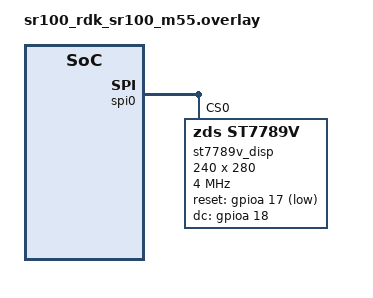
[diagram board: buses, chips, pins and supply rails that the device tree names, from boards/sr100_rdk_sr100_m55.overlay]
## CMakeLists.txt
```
cmake_minimum_required(VERSION 3.20.0)

# Custom "zds,st7789v" devicetree binding (same as Lab 11/12/13/14) --
# DTS_ROOT must be extended BEFORE find_package(Zephyr...) runs, or the
# devicetree compiler won't find it.
list(APPEND DTS_ROOT ${CMAKE_CURRENT_SOURCE_DIR})

find_package(Zephyr REQUIRED HINTS $ENV{ZEPHYR_BASE})
project(lab15_low_power_sync_host)

target_sources(app PRIVATE src/main.c)
target_include_directories(app PRIVATE include)
```

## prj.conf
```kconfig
CONFIG_MBOX=y
CONFIG_SPI=y
CONFIG_GPIO=y
# No CONFIG_DISPLAY / CONFIG_CHARACTER_FRAMEBUFFER / CONFIG_ST7789V -- same
# raw-SPI approach as Lab 11/12/13/14 (see Lab 11's prj.conf comment).
CONFIG_MAIN_STACK_SIZE=4096
# ns16550_uart1 (M55's only UART/console) is disabled in the devicetree
# overlay because SPI0 reuses its pins -- see Lab 11's prj.conf comment
# for why CONFIG_UART_CONSOLE=n/CONFIG_CONSOLE=n (and NOT CONFIG_SERIAL=n)
# is the correct fix. M55 never sends console commands in this lab -- all
# commands are M4-local (see remote/src/main.c).
CONFIG_UART_CONSOLE=n
CONFIG_CONSOLE=n
CONFIG_LOG=y
CONFIG_LOG_DEFAULT_LEVEL=3
CONFIG_PRINTK=y

# NOTE on power management: this lab deliberately does NOT set CONFIG_PM.
# See src/main.c's file header comment -- Sync_Task blocks on K_FOREVER
# with nothing else runnable, which already puts the CPU into Zephyr's
# default WFI-based idle wait with zero extra configuration. Explicit
# deeper SoC power states were not confirmed available/working on this
# board for M55 in this curriculum, so CONFIG_PM is left off rather than
# guessed at.
```

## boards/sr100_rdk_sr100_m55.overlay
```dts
#include <zephyr/dt-bindings/gpio/gpio.h>

/* Lab 15 reuses this TFT wiring UNCHANGED from Lab 11/12/13/14 -- no new
 * hardware. M55's only job in this lab is drawing the threshold-event
 * state on the same ST7789V3 panel on SPI0. */

/* ipc0 shared-memory-size must match the M4 overlay in remote/boards/ exactly. */
&ipc0 {
	shared-memory-size = <0x400>;
};

/*
 * This lab's sensor (AHT20) lives on M4's &i2c0, not the shared &i2c1
 * bus -- &i2c1 is disabled anyway for consistency with the rest of the
 * curriculum (M55 never uses i2c1 in any lab) and because it's harmless.
 */
&i2c1 {
	status = "disabled";
};

&gpio_exp0 {
	status = "disabled";
};

&ov02c10 {
	status = "disabled";
};

/*
 * ST7789V3 1.69" 240x280 color TFT on M55's SPI0 -- identical setup to
 * Lab 11/12/13/14 (same panel, same wiring, same raw-SPI "zds,st7789v"
 * custom binding). See Lab 11's doc for the full rationale (why raw SPI
 * instead of Zephyr's in-tree display driver, the level-shifter
 * requirement, the SPI0 FIFO chunking, and the SPI0/UART1 console pin
 * conflict this creates).
 */
&ns16550_uart1 {
	status = "disabled";
};

&spi0 {
	#address-cells = <1>;
	#size-cells = <0>;
	status = "okay";
	pinctrl-0 = <&spi_mstr_mosi &spi_mstr_miso &spi_mstr_clk &spi_mstr_cs>;
	pinctrl-names = "default";

	st7789v_disp: st7789v@0 {
		compatible = "zds,st7789v";
		reg = <0>;
		spi-max-frequency = <4000000>;
		reset-gpios = <&gpioa 17 GPIO_ACTIVE_LOW>;  /* SoC GPIO17, J24 pin 3 - through level shifter */
		dc-gpios = <&gpioa 18 GPIO_ACTIVE_HIGH>;    /* SoC GPIO18, J24 pin 4 - through level shifter */
		width = <240>;
		height = <280>;
		x-offset = <0>;
		y-offset = <20>;
	};
};
```

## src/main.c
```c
/*
 * Lab 15: Low Power Sync (HOST, M55)
 *
 * Same ST7789V3 TFT hardware setup as Lab 11/12/13/14 (identical panel,
 * SPI0/RESET/DC wiring, raw-SPI driver -- see this lab's
 * doc/15_low_power_sync_kr.md for the full pin table and level-shifter
 * rationale). This lab does not touch I2C0/AHT20 at all -- M55 never
 * reads the sensor directly, it only reacts to M4's threshold events.
 *
 * WHAT M55 DOES, AND WHY IT'S DIFFERENT FROM LAB 14: `Sync_Task` blocks on
 * k_msgq_get() with NO timeout at all (K_FOREVER), not the finite
 * K_MSEC(...) timeout Lab 14's Watchdog_Task used. That's not an
 * oversight -- it's the point of this lab. Lab 14 needed a finite timeout
 * because it had to detect the ABSENCE of a message (silence = trouble).
 * This lab only cares about the PRESENCE of a message (a real state
 * change) -- there is nothing to detect by watching the clock, so there is
 * no reason to wake up on a timer at all. A thread blocked on K_FOREVER
 * with nothing else runnable is exactly when Zephyr's own idle thread
 * puts the CPU into its lowest-power wait state (WFI) automatically, with
 * no extra code required here -- this is the "M55 stays idle until
 * something worth reacting to happens" pattern this lab demonstrates.
 *
 * NOT IMPLEMENTED (deliberately, see doc): explicitly requesting a deeper
 * SoC power state (e.g. PM_STATE_SUSPEND_TO_IDLE) via Zephyr's power
 * management subsystem. Which PM states this SoC/board actually supports
 * from M55, and what it takes to enable CONFIG_PM here, was not confirmed
 * on real hardware for this curriculum -- rather than guess at unverified
 * Kconfig, this lab relies on Zephyr's automatic WFI-on-idle behavior,
 * which requires no PM configuration and is fully verifiable: M55 simply
 * has nothing to do while waiting, so it waits efficiently by default.
 */

#include <zephyr/kernel.h>
#include <zephyr/device.h>
#include <zephyr/devicetree.h>
#include <zephyr/drivers/spi.h>
#include <zephyr/drivers/gpio.h>
#include <zephyr/drivers/mbox.h>
#include <zephyr/logging/log.h>
#include <zephyr/sys/util.h>
#include <stdbool.h>
#include <stdio.h>
#include <string.h>
#include "ipc_common.h"

LOG_MODULE_REGISTER(lab15_host, CONFIG_LOG_DEFAULT_LEVEL);

#define TASK_STACK_SIZE 2048
#define TASK_PRIORITY   4

K_THREAD_STACK_DEFINE(task_stack, TASK_STACK_SIZE);
static struct k_thread task_data;

K_MSGQ_DEFINE(evt_msgq, sizeof(struct ipc15_event_payload), 4, 4);

#define DISP_NODE DT_NODELABEL(st7789v_disp)

#define PANEL_WIDTH   DT_PROP(DISP_NODE, width)
#define PANEL_HEIGHT  DT_PROP(DISP_NODE, height)
#define X_OFFSET      DT_PROP(DISP_NODE, x_offset)
#define Y_OFFSET      DT_PROP(DISP_NODE, y_offset)

#define ST7789_SWRESET   0x01
#define ST7789_SLPOUT    0x11
#define ST7789_COLMOD    0x3A
#define ST7789_MADCTL    0x36
#define ST7789_INVON     0x21
#define ST7789_NORON     0x13
#define ST7789_DISPON    0x29
#define ST7789_CASET     0x2A
#define ST7789_RASET     0x2B
#define ST7789_RAMWR     0x2C
#define ST7789_PORCTRL   0xB2
#define ST7789_GCTRL     0xB7
#define ST7789_VCOMS     0xBB
#define ST7789_LCMCTRL   0xC0
#define ST7789_VDVVRHEN  0xC2
#define ST7789_VRHS      0xC3
#define ST7789_VDVS      0xC4
#define ST7789_FRCTRL2   0xC6
#define ST7789_PWCTRL1   0xD0
#define ST7789_PVGAMCTRL 0xE0
#define ST7789_NVGAMCTRL 0xE1

#define COLOR_BLACK   0x0000
#define COLOR_WHITE   0xFFFF
#define COLOR_RED     0xF800
#define COLOR_GREEN   0x07E0
#define COLOR_YELLOW  0xFFE0
#define COLOR_GRAY    0x8410

static const struct spi_dt_spec spi_spec =
	SPI_DT_SPEC_GET(DISP_NODE, SPI_WORD_SET(8) | SPI_TRANSFER_MSB, 0);
static const struct gpio_dt_spec reset_spec = GPIO_DT_SPEC_GET(DISP_NODE, reset_gpios);
static const struct gpio_dt_spec dc_spec = GPIO_DT_SPEC_GET(DISP_NODE, dc_gpios);

struct glyph {
	char ch;
	uint8_t cols[5];
};

/* Same 5x7 font table as Lab 11/12/13/14 -- unchanged. */
static const struct glyph font5x7[] = {
	{' ', {0x00, 0x00, 0x00, 0x00, 0x00}},
	{'-', {0x08, 0x08, 0x08, 0x08, 0x08}},
	{'.', {0x00, 0x60, 0x60, 0x00, 0x00}},
	{':', {0x00, 0x36, 0x36, 0x00, 0x00}},
	{'0', {0x3E, 0x51, 0x49, 0x45, 0x3E}},
	{'1', {0x00, 0x42, 0x7F, 0x40, 0x00}},
	{'2', {0x62, 0x51, 0x49, 0x49, 0x46}},
	{'3', {0x22, 0x41, 0x49, 0x49, 0x36}},
	{'4', {0x18, 0x14, 0x12, 0x7F, 0x10}},
	{'5', {0x27, 0x45, 0x45, 0x45, 0x39}},
	{'6', {0x3C, 0x4A, 0x49, 0x49, 0x30}},
	{'7', {0x01, 0x71, 0x09, 0x05, 0x03}},
	{'8', {0x36, 0x49, 0x49, 0x49, 0x36}},
	{'9', {0x06, 0x49, 0x49, 0x29, 0x1E}},
	{'A', {0x7E, 0x11, 0x11, 0x11, 0x7E}},
	{'B', {0x7F, 0x49, 0x49, 0x49, 0x36}},
	{'C', {0x3E, 0x41, 0x41, 0x41, 0x22}},
	{'D', {0x7F, 0x41, 0x41, 0x22, 0x1C}},
	{'E', {0x7F, 0x49, 0x49, 0x49, 0x41}},
	{'G', {0x3E, 0x41, 0x49, 0x49, 0x7A}},
	{'H', {0x7F, 0x08, 0x08, 0x08, 0x7F}},
	{'I', {0x00, 0x41, 0x7F, 0x41, 0x00}},
	{'K', {0x7F, 0x08, 0x14, 0x22, 0x41}},
	{'L', {0x7F, 0x40, 0x40, 0x40, 0x40}},
	{'M', {0x7F, 0x02, 0x0C, 0x02, 0x7F}},
	{'N', {0x7F, 0x02, 0x04, 0x08, 0x7F}},
	{'O', {0x3E, 0x41, 0x41, 0x41, 0x3E}},
	{'P', {0x7F, 0x09, 0x09, 0x09, 0x06}},
	{'Q', {0x3E, 0x41, 0x51, 0x21, 0x5E}},
	{'R', {0x7F, 0x09, 0x19, 0x29, 0x46}},
	{'S', {0x46, 0x49, 0x49, 0x49, 0x31}},
	{'T', {0x01, 0x01, 0x7F, 0x01, 0x01}},
	{'U', {0x3F, 0x40, 0x40, 0x40, 0x3F}},
	{'V', {0x1F, 0x20, 0x40, 0x20, 0x1F}},
	{'W', {0x3F, 0x40, 0x38, 0x40, 0x3F}},
	{'X', {0x63, 0x14, 0x08, 0x14, 0x63}},
	{'Y', {0x07, 0x08, 0x70, 0x08, 0x07}},
	{'Z', {0x61, 0x51, 0x49, 0x45, 0x43}},
};

static const uint8_t *glyph_lookup(char c)
{
	static const uint8_t blank[5] = {0x00, 0x00, 0x00, 0x00, 0x00};

	for (size_t i = 0; i < ARRAY_SIZE(font5x7); i++) {
		if (font5x7[i].ch == c) {
			return font5x7[i].cols;
		}
	}
	return blank;
}

#define ST7789_CHUNK_BYTES 8

static int st7789_send(int dc_value, const uint8_t *data, size_t len)
{
	int ret;

	gpio_pin_set_dt(&dc_spec, dc_value);

	while (len) {
		size_t chunk = MIN(len, ST7789_CHUNK_BYTES);
		struct spi_buf buf = { .buf = (void *)data, .len = chunk };
		struct spi_buf_set set = { .buffers = &buf, .count = 1 };

		ret = spi_write_dt(&spi_spec, &set);
		if (ret) {
			LOG_ERR("spi_write_dt(dc=%d, len=%zu) failed, ret=%d", dc_value, chunk, ret);
			return ret;
		}
		data += chunk;
		len -= chunk;
	}

	return 0;
}

static int st7789_write_cmd(uint8_t cmd)
{
	return st7789_send(0, &cmd, 1);
}

static int st7789_write_data(const uint8_t *data, size_t len)
{
	return st7789_send(1, data, len);
}

static int st7789_reset(void)
{
	int ret = gpio_pin_configure_dt(&reset_spec, GPIO_OUTPUT_INACTIVE);

	if (ret) {
		return ret;
	}
	k_sleep(K_MSEC(10));
	gpio_pin_set_dt(&reset_spec, 1);
	k_sleep(K_MSEC(10));
	gpio_pin_set_dt(&reset_spec, 0);
	k_sleep(K_MSEC(150));

	return 0;
}

struct st7789_init_cmd {
	uint8_t cmd;
	uint8_t num_args;
	uint8_t args[16];
	uint16_t delay_ms;
};

static const struct st7789_init_cmd init_seq[] = {
	{ ST7789_SWRESET,   0, {0}, 150 },
	{ ST7789_SLPOUT,    0, {0}, 255 },
	{ ST7789_COLMOD,    1, {0x55}, 10 },
	{ ST7789_PORCTRL,   5, {0x0C, 0x0C, 0x00, 0x33, 0x33}, 0 },
	{ ST7789_GCTRL,     1, {0x35}, 0 },
	{ ST7789_VCOMS,     1, {0x28}, 0 },
	{ ST7789_LCMCTRL,   1, {0x0C}, 0 },
	{ ST7789_VDVVRHEN,  2, {0x01, 0xFF}, 0 },
	{ ST7789_VRHS,      1, {0x10}, 0 },
	{ ST7789_VDVS,      1, {0x20}, 0 },
	{ ST7789_FRCTRL2,   1, {0x0F}, 0 },
	{ ST7789_PWCTRL1,   2, {0xA4, 0xA1}, 0 },
	{ ST7789_MADCTL,    1, {0x00}, 0 },
	{ ST7789_INVON,     0, {0}, 10 },
	{ ST7789_PVGAMCTRL, 14, {0xD0, 0x00, 0x02, 0x07, 0x0A, 0x28, 0x32, 0x44,
				 0x42, 0x06, 0x0E, 0x12, 0x14, 0x17}, 0 },
	{ ST7789_NVGAMCTRL, 14, {0xD0, 0x00, 0x02, 0x07, 0x05, 0x25, 0x2D, 0x44,
				 0x45, 0x10, 0x0E, 0x12, 0x13, 0x17}, 0 },
	{ ST7789_NORON,     0, {0}, 10 },
	{ ST7789_DISPON,    0, {0}, 100 },
};

static int st7789_init(void)
{
	int ret;

	for (size_t i = 0; i < ARRAY_SIZE(init_seq); i++) {
		ret = st7789_write_cmd(init_seq[i].cmd);
		if (ret) return ret;

		if (init_seq[i].num_args) {
			ret = st7789_write_data(init_seq[i].args, init_seq[i].num_args);
			if (ret) return ret;
		}
		if (init_seq[i].delay_ms) {
			k_sleep(K_MSEC(init_seq[i].delay_ms));
		}
	}

	return 0;
}

static int st7789_set_addr_window(uint16_t x0, uint16_t y0, uint16_t x1, uint16_t y1)
{
	uint16_t xs = x0 + X_OFFSET, xe = x1 + X_OFFSET;
	uint16_t ys = y0 + Y_OFFSET, ye = y1 + Y_OFFSET;
	uint8_t caset[4] = { xs >> 8, xs & 0xFF, xe >> 8, xe & 0xFF };
	uint8_t raset[4] = { ys >> 8, ys & 0xFF, ye >> 8, ye & 0xFF };
	int ret;

	ret = st7789_write_cmd(ST7789_CASET);
	if (ret) return ret;
	ret = st7789_write_data(caset, sizeof(caset));
	if (ret) return ret;

	ret = st7789_write_cmd(ST7789_RASET);
	if (ret) return ret;
	ret = st7789_write_data(raset, sizeof(raset));
	if (ret) return ret;

	return st7789_write_cmd(ST7789_RAMWR);
}

static int st7789_fill_rect(uint16_t x, uint16_t y, uint16_t w, uint16_t h, uint16_t color)
{
	uint8_t row[PANEL_WIDTH * 2];
	int ret;

	ret = st7789_set_addr_window(x, y, x + w - 1, y + h - 1);
	if (ret) return ret;

	for (uint16_t i = 0; i < w; i++) {
		row[i * 2] = color >> 8;
		row[i * 2 + 1] = color & 0xFF;
	}

	for (uint16_t line = 0; line < h; line++) {
		ret = st7789_write_data(row, (size_t)w * 2);
		if (ret) return ret;
	}

	return 0;
}

static int st7789_draw_char(uint16_t x, uint16_t y, char c, uint16_t fg, uint16_t bg, uint8_t scale)
{
	const uint8_t *glyph = glyph_lookup(c);
	uint8_t row[5 * 8 * 2];
	int ret;

	ret = st7789_set_addr_window(x, y, x + 5 * scale - 1, y + 7 * scale - 1);
	if (ret) return ret;

	for (uint8_t srow = 0; srow < 7; srow++) {
		for (uint8_t scol = 0; scol < 5; scol++) {
			bool on = (glyph[scol] >> srow) & 0x1;
			uint16_t color = on ? fg : bg;

			for (uint8_t sx = 0; sx < scale; sx++) {
				size_t idx = (scol * scale + sx) * 2;

				row[idx] = color >> 8;
				row[idx + 1] = color & 0xFF;
			}
		}
		for (uint8_t sy = 0; sy < scale; sy++) {
			ret = st7789_write_data(row, (size_t)5 * scale * 2);
			if (ret) return ret;
		}
	}

	return 0;
}

static int st7789_draw_string(uint16_t x, uint16_t y, const char *str, uint16_t fg, uint16_t bg, uint8_t scale)
{
	int ret;

	while (*str) {
		ret = st7789_draw_char(x, y, *str++, fg, bg, scale);
		if (ret) return ret;
		x += 6 * scale;
	}
	return 0;
}

static void draw_line(uint16_t x, uint16_t y, const char *text, uint16_t fg, size_t width)
{
	char padded[24];
	size_t len = strlen(text);

	if (width >= sizeof(padded)) {
		width = sizeof(padded) - 1;
	}
	if (len > width) {
		len = width;
	}
	memcpy(padded, text, len);
	for (size_t i = len; i < width; i++) {
		padded[i] = ' ';
	}
	padded[width] = '\0';

	st7789_draw_string(x, y, padded, fg, COLOR_BLACK, 2);
}

static void draw_state(enum ipc15_temp_state state)
{
	uint16_t icon_color = (state == IPC15_TEMP_ABOVE) ? COLOR_RED : COLOR_GREEN;
	const char *label = (state == IPC15_TEMP_ABOVE) ? "ABOVE" : "BELOW";

	st7789_fill_rect(10, 40, 16, 16, icon_color);
	draw_line(34, 40, label, COLOR_WHITE, 10);
}

/* ------------------------------------------------------------- sync task */

static void rx_cb(const struct device *dev, mbox_channel_id_t channel_id,
		   void *user_data, struct mbox_msg *data)
{
	struct ipc15_event_payload evt;

	ARG_UNUSED(dev);
	ARG_UNUSED(channel_id);
	ARG_UNUSED(user_data);

	if (data->size < sizeof(evt)) {
		return;
	}
	memcpy(&evt, data->data, sizeof(evt));

	/* ISR-safe: pure memcpy + k_msgq_put, no drawing here -- same rule
	 * as every mbox callback in this curriculum since Lab 01. */
	k_msgq_put(&evt_msgq, &evt, K_NO_WAIT);
}

static void sync_task_entry(void *p1, void *p2, void *p3)
{
	struct ipc15_event_payload evt;
	bool ever_seen = false;
	char line[24];

	ARG_UNUSED(p1);
	ARG_UNUSED(p2);
	ARG_UNUSED(p3);

	LOG_INF("[Sync_Task] started -- blocking on K_FOREVER until M4 sends an event");

	if (!spi_is_ready_dt(&spi_spec)) {
		LOG_ERR("SPI0 device not ready - check devicetree status/overlay");
		return;
	}
	if (!gpio_is_ready_dt(&reset_spec) || !gpio_is_ready_dt(&dc_spec)) {
		LOG_ERR("RST/DC GPIO controller not ready");
		return;
	}
	if (gpio_pin_configure_dt(&dc_spec, GPIO_OUTPUT_INACTIVE)) {
		LOG_ERR("DC GPIO configure failed");
		return;
	}
	if (st7789_reset()) {
		LOG_ERR("Panel reset failed - check RST wiring");
		return;
	}
	if (st7789_init()) {
		LOG_ERR("ST7789 init failed (SPI write error) - check wiring / level shifter");
		return;
	}

	st7789_fill_rect(0, 0, PANEL_WIDTH, PANEL_HEIGHT, COLOR_BLACK);
	st7789_draw_string(10, 10, "LAB15 LOW POWER", COLOR_YELLOW, COLOR_BLACK, 2);
	st7789_fill_rect(10, 40, 16, 16, COLOR_GRAY);
	draw_line(34, 40, "WAIT", COLOR_WHITE, 10);
	draw_line(10, 90, "TEMP:--", COLOR_WHITE, 14);
	draw_line(10, 120, "EVENTS:0", COLOR_WHITE, 14);

	while (1) {
		/* K_FOREVER, not K_MSEC(...) -- see file header comment. This
		 * thread (and therefore M55, since nothing else here is
		 * runnable) is truly idle between events; Zephyr's idle
		 * thread takes the CPU into its low-power wait state (WFI)
		 * automatically whenever there's nothing to run. */
		if (k_msgq_get(&evt_msgq, &evt, K_FOREVER) != 0) {
			continue;
		}

		ever_seen = true;
		draw_state((enum ipc15_temp_state)evt.state);

		snprintf(line, sizeof(line), "TEMP:%d.%02dC",
			 evt.temp_milli_c / 1000, abs(evt.temp_milli_c % 1000) / 10);
		draw_line(10, 90, line, COLOR_WHITE, 14);

		snprintf(line, sizeof(line), "EVENTS:%u", evt.seq);
		draw_line(10, 120, line, COLOR_WHITE, 14);

		LOG_INF("[Sync_Task] event seq=%u state=%s temp=%d milli-C",
			evt.seq, evt.state == IPC15_TEMP_ABOVE ? "ABOVE" : "BELOW",
			evt.temp_milli_c);
	}

	ARG_UNUSED(ever_seen);
}

int main(void)
{
	struct mbox_dt_spec rx_channel;

	LOG_INF("Lab15 Low Power Sync HOST - %s", CONFIG_BOARD_TARGET);

	/* Only rx is needed -- M55 never sends anything to M4 in this lab. */
	rx_channel = (struct mbox_dt_spec)MBOX_DT_SPEC_GET(DT_PATH(mbox_consumer), rx);

	if (mbox_register_callback_dt(&rx_channel, rx_cb, NULL)) {
		LOG_ERR("mbox_register_callback() failed");
		return -EIO;
	}
	if (mbox_set_enabled_dt(&rx_channel, 1)) {
		LOG_ERR("mbox_set_enabled() failed");
		return -EIO;
	}

	k_thread_create(&task_data, task_stack, K_THREAD_STACK_SIZEOF(task_stack),
			sync_task_entry, NULL, NULL, NULL, TASK_PRIORITY, 0, K_NO_WAIT);
	k_thread_name_set(&task_data, "Sync_Task");

	while (1) {
		k_sleep(K_FOREVER);
	}
	return 0;
}
```
